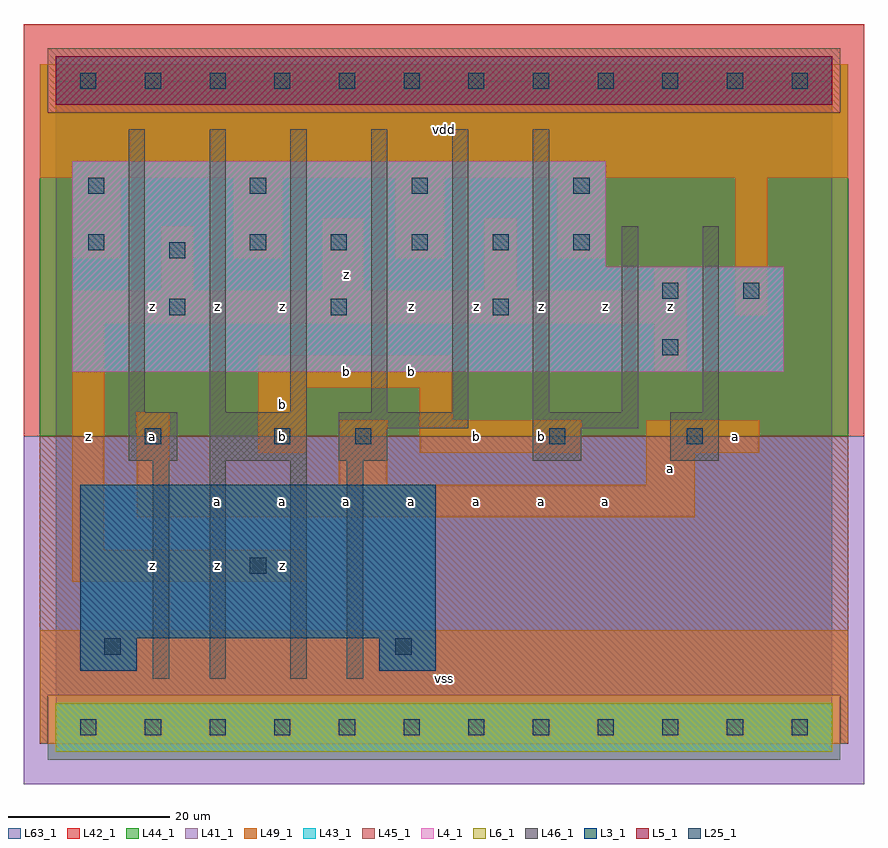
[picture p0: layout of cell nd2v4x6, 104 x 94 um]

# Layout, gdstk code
import gdstk
lib = gdstk.Library(unit=1e-6, precision=1e-09)
def R(c, l, rs):  # rectangles x0, y0, x1, y1
    for r in rs: c.add(gdstk.rectangle(r[:2], r[2:], *l))
def A(c, l, x, y, w, h, nx, ny, dx, dy):  # array of equal rectangles
    R(c, l, [(x+i*dx, y+j*dy, x+i*dx+w, y+j*dy+h) for i in range(nx) for j in range(ny)])
L3_1 = (3, 1)
L4_1 = (4, 1)
L5_1 = (5, 1)
L6_1 = (6, 1)
L25_1 = (25, 1)
L41_1 = (41, 1)
L42_1 = (42, 1)
L43_1 = (43, 1)
L44_1 = (44, 1)
L45_1 = (45, 1)
L46_1 = (46, 1)
L49_1 = (49, 1)
L63_1 = (63, 1)

nd2v4x6 = lib.new_cell('nd2v4x6')
R(nd2v4x6, L3_1, [(3,7,10,11), (40,7,47,11), (3,11,47,30)])
R(nd2v4x6, L4_1, [(2,44,90,57), (2,57,68,70)])
R(nd2v4x6, L5_1, [(0,77,96,83)])
R(nd2v4x6, L6_1, [(0,-3,96,3), (0,-3,96,3)])
A(nd2v4x6, L25_1, 3, -1, 2, 2, 12, 2, 8, 80)
A(nd2v4x6, L25_1, 14, 51, 2, 2, 3, 1, 20, 0)
A(nd2v4x6, L25_1, 24, 59, 2, 2, 5, 1, 10, 0)
A(nd2v4x6, L25_1, 4, 66, 2, 2, 4, 1, 20, 0)
R(nd2v4x6, L25_1, [(6,9,8,11), (42,9,44,11), (24,19,26,21), (11,35,13,37), (27,35,29,37), (37,35,39,37), (61,35,63,37), (78,35,80,37), (75,46,77,48), (75,53,77,55), (85,53,87,55), (14,58,16,60), (4,59,6,61)])
R(nd2v4x6, L41_1, [(-4,-7,100,36)])
R(nd2v4x6, L42_1, [(-4,36,100,87)])
R(nd2v4x6, L43_1, [(0,-3,96,3), (3,7,10,11), (40,7,47,11), (3,11,47,30), (2,44,90,57), (2,57,68,70), (0,77,96,83)])
R(nd2v4x6, L44_1, [(-1,-4,97,4), (-2,36,98,76), (-2,76,-1,82), (97,76,98,82)])
R(nd2v4x6, L45_1, [(-2,-2,-1,4), (97,-2,98,4), (-2,4,98,36), (-1,76,97,84)])
A(nd2v4x6, L46_1, 9, 39, 2, 35, 6, 1, 10, 0)
R(nd2v4x6, L46_1, [(12,6,14,33), (19,6,21,33), (29,6,31,33), (36,6,38,33), (9,33,15,39), (19,33,31,39), (35,33,41,37), (59,33,65,37), (76,33,82,39), (35,37,51,39), (59,37,72,39), (70,39,72,62), (80,39,82,62)])
A(nd2v4x6, L49_1, 2, 58, 6, 10, 4, 1, 20, 0)
R(nd2v4x6, L49_1, [(-2,-2,98,12), (2,18,31,22), (2,22,6,50), (10,26,79,30), (10,30,14,39), (35,30,41,38), (73,30,79,34), (25,34,31,42), (45,34,65,38), (73,34,87,38), (45,38,49,42), (25,42,49,46), (74,44,78,50), (2,50,78,54), (84,51,88,68), (13,54,17,62), (33,54,38,63), (53,54,57,63), (74,54,78,57), (-2,68,98,82)])
R(nd2v4x6, L63_1, [(0,0,96,80)])
nd2v4x6.add(gdstk.Label('z', (12,20), layer=49, texttype=1))
nd2v4x6.add(gdstk.Label('a', (12,36), layer=49, texttype=1))
nd2v4x6.add(gdstk.Label('z', (4,36), layer=49, texttype=1))
nd2v4x6.add(gdstk.Label('z', (12,52), layer=49, texttype=1))
nd2v4x6.add(gdstk.Label('z', (20,20), layer=49, texttype=1))
nd2v4x6.add(gdstk.Label('a', (20,28), layer=49, texttype=1))
nd2v4x6.add(gdstk.Label('z', (28,20), layer=49, texttype=1))
nd2v4x6.add(gdstk.Label('a', (28,28), layer=49, texttype=1))
nd2v4x6.add(gdstk.Label('b', (28,36), layer=49, texttype=1))
nd2v4x6.add(gdstk.Label('b', (28,40), layer=49, texttype=1))
nd2v4x6.add(gdstk.Label('z', (28,52), layer=49, texttype=1))
nd2v4x6.add(gdstk.Label('z', (20,52), layer=49, texttype=1))
nd2v4x6.add(gdstk.Label('vss', (48,6), layer=49, texttype=1))
nd2v4x6.add(gdstk.Label('a', (36,28), layer=49, texttype=1))
nd2v4x6.add(gdstk.Label('a', (44,28), layer=49, texttype=1))
nd2v4x6.add(gdstk.Label('a', (52,28), layer=49, texttype=1))
nd2v4x6.add(gdstk.Label('b', (36,44), layer=49, texttype=1))
nd2v4x6.add(gdstk.Label('b', (44,44), layer=49, texttype=1))
nd2v4x6.add(gdstk.Label('b', (52,36), layer=49, texttype=1))
nd2v4x6.add(gdstk.Label('z', (44,52), layer=49, texttype=1))
nd2v4x6.add(gdstk.Label('z', (52,52), layer=49, texttype=1))
nd2v4x6.add(gdstk.Label('z', (36,56), layer=49, texttype=1))
nd2v4x6.add(gdstk.Label('vdd', (48,74), layer=49, texttype=1))
nd2v4x6.add(gdstk.Label('a', (60,28), layer=49, texttype=1))
nd2v4x6.add(gdstk.Label('a', (68,28), layer=49, texttype=1))
nd2v4x6.add(gdstk.Label('a', (76,32), layer=49, texttype=1))
nd2v4x6.add(gdstk.Label('b', (60,36), layer=49, texttype=1))
nd2v4x6.add(gdstk.Label('z', (68,52), layer=49, texttype=1))
nd2v4x6.add(gdstk.Label('z', (76,52), layer=49, texttype=1))
nd2v4x6.add(gdstk.Label('z', (60,52), layer=49, texttype=1))
nd2v4x6.add(gdstk.Label('a', (84,36), layer=49, texttype=1))

lib.write_gds('nd2v4x6.gds')
